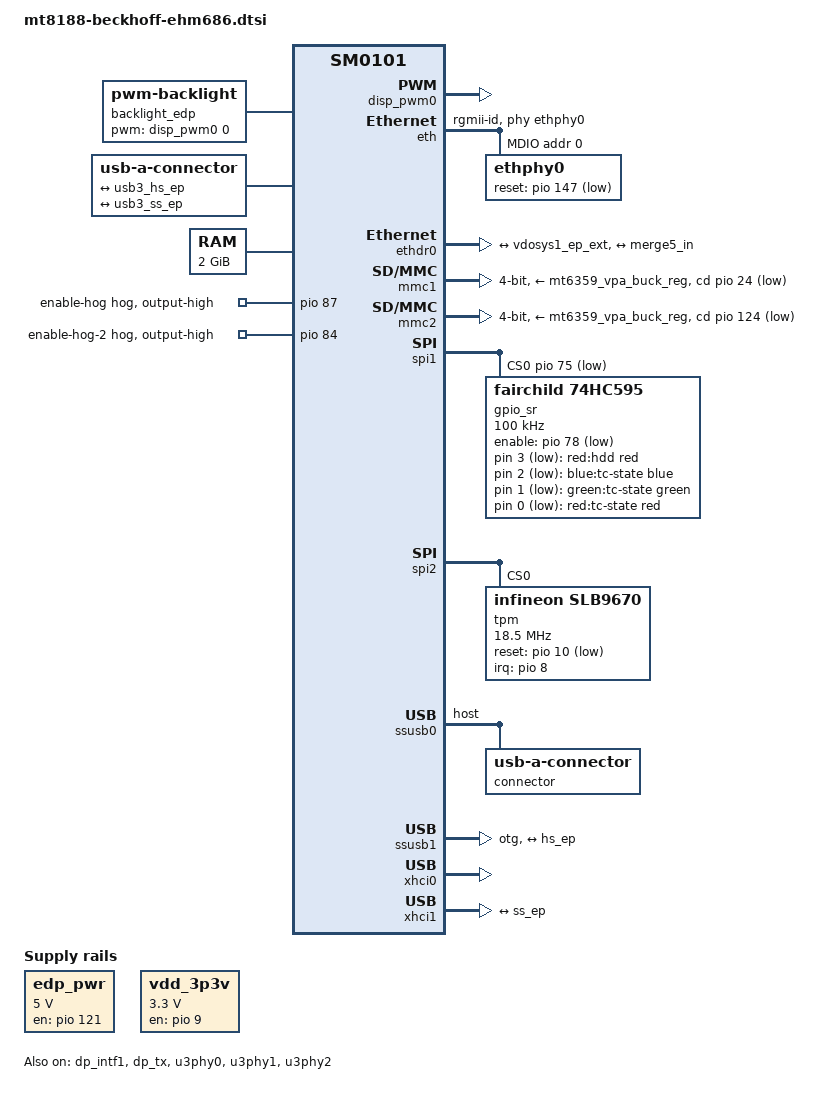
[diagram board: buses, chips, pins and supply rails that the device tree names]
// SPDX-License-Identifier: GPL-2.0 OR MIT
/*
 * Copyright (C) 2025 Beckhoff Automation GmbH & Co. KG
 */

#include "mt8188-beckhoff-sm0101.dtsi"

/*
 * SOM Interfaces used:
 *
 *		- UART 0 -> Debug
 *		- SPI1 -> SN74AVC4T774 (LED gpio)
 *		- GPIO_TPM -> TPM
 *		- SPI2 -> TPM (SLB9672)
 *		- DP0 -> Display out
 *		- EDP -> EDP Port out DISP_EN(GPIO 121)/HPD(GPIO 17 Aux func 4)/
 *		  PWM(DISP_PWM0 AA9)
 *		- EMMC -> EMMC (MSDC 0)
 *		- SDIO 1 -> SD Card 1 (MSDC 1) / CD# (GPIO 024)
 *		- SDIO 2 -> SD Card 2 (MSDC 2) / CD# (GPIO 124)
 *		- GPIO 0 -> PC status (GPIO 00)
 *		- GPIO_1 -> PC on (GPIO 01)
 *		- GPIO_EXTPWR -> 3V3 enable	(GPIO 09)
 *		- GPIO_PWRLED -> PWR LED (R/G/B) / GPIO(012/013/014)
 *		- USBP0 -> USB 3 Port
 *		- USBP1 -> USB 2 Port
 *		- PCIE0 -> Realtek Phy
 *		- GBE0 -> B50212E
 *
 */

/ {
	backlight_edp: backlight-edp {
		compatible = "pwm-backlight";
		brightness-levels = <0 1023>;
		default-brightness-level = <576>;
		num-interpolated-steps = <1023>;
		pwms = <&disp_pwm0 0 500000>;
	};

	edp_pwr: edp-pwr {
		compatible = "regulator-fixed";
		enable-active-high;
		gpio = <&pio 121 GPIO_ACTIVE_HIGH>;
		regulator-max-microvolt = <5000000>;
		regulator-min-microvolt = <5000000>;
		regulator-name = "edp-pwr";
	};

	leds {
		compatible = "gpio-leds";

		status = "okay";

		led-hdd-red {
			color = <LED_COLOR_ID_RED>;
			default-state = "off";
			function = LED_FUNCTION_POWER;
			gpios = <&gpio_sr 3 GPIO_ACTIVE_LOW>;
			label = "red:hdd";
			linux,default-trigger = "mmc1";
		};

		led-tc-state-blue {
			color = <LED_COLOR_ID_BLUE>;
			default-state = "off";
			function = LED_FUNCTION_HEARTBEAT;
			gpios = <&gpio_sr 2 GPIO_ACTIVE_LOW>;
			label = "blue:tc-state";
			linux,default-trigger = "none";
		};

		led-tc-state-green {
			color = <LED_COLOR_ID_GREEN>;
			default-state = "off";
			function = LED_FUNCTION_POWER;
			gpios = <&gpio_sr 1 GPIO_ACTIVE_LOW>;
			label = "green:tc-state";
			linux,default-trigger = "none";
		};

		led-tc-state-red {
			color = <LED_COLOR_ID_RED>;
			default-state = "off";
			function = LED_FUNCTION_PANIC;
			gpios = <&gpio_sr 0 GPIO_ACTIVE_LOW>;
			label = "red:tc-state";
			linux,default-trigger = "none";
		};
	};

	usb3_con: usb3-con {
		compatible = "usb-a-connector";
		label = "USB-A";

		ports {
			#address-cells = <1>;
			#size-cells = <0>;

			port@0 {
				reg = <0>;

				hs_ep: endpoint {
					remote-endpoint = <&usb3_hs_ep>;
				};
			};

			port@1 {
				reg = <1>;

				ss_ep: endpoint {
					remote-endpoint = <&usb3_ss_ep>;
				};
			};
		};
	};

	vdd_3p3v: vdd-3p3v {
		compatible = "regulator-fixed";
		enable-active-high;
		gpio = <&pio 9 GPIO_ACTIVE_HIGH>;
		regulator-always-on;
		regulator-boot-on;
		regulator-max-microvolt = <3300000>;
		regulator-min-microvolt = <3300000>;
		regulator-name = "vdd-3.3V";
	};

	memory@40000000 {
		reg = <0 0x40000000 0x0 0x80000000>;
		device_type = "memory";
	};
};

&disp_pwm0 {
	pinctrl-0 = <&disp_pwm0_pins>;
	pinctrl-names = "default";

	status = "okay";
};

&dither0_out {
	remote-endpoint = <&dsc0_in>;
};

&dp_intf0 {
	ports {
		#address-cells = <1>;
		#size-cells = <0>;

		port@0 {
			reg = <0>;

			dp_intf0_in: endpoint {
				remote-endpoint = <&merge0_out>;
			};
		};

		port@1 {
			reg = <1>;

			dp_intf0_out: endpoint {
			};
		};
	};
};

&dp_intf1 {
	status = "okay";

	ports {
		#address-cells = <1>;
		#size-cells = <0>;

		port@0 {
			reg = <0>;
			#address-cells = <1>;
			#size-cells = <0>;

			dp_intf1_in: endpoint@1 {
				reg = <1>;
				remote-endpoint = <&merge5_out>;
			};
		};

		port@1 {
			reg = <1>;
			#address-cells = <1>;
			#size-cells = <0>;

			dp_intf1_out: endpoint@1 {
				reg = <1>;
				remote-endpoint = <&dptx_in>;
			};
		};
	};
};

&dp_tx {
	pinctrl-0 = <&dp_tx_hpd>;
	pinctrl-names = "default";
	#sound-dai-cells = <0>;

	status = "okay";

	ports {
		#address-cells = <1>;
		#size-cells = <0>;

		port@0 {
			reg = <0>;

			dptx_in: endpoint {
				remote-endpoint = <&dp_intf1_out>;
			};
		};

		port@1 {
			reg = <1>;

			dptx_out: endpoint {
				data-lanes = <0 1 2 3>;
			};
		};
	};
};

&dsc0 {
	ports {
		#address-cells = <1>;
		#size-cells = <0>;

		port@0 {
			reg = <0>;

			dsc0_in: endpoint {
				remote-endpoint = <&dither0_out>;
			};
		};

		port@1 {
			reg = <1>;

			dsc0_out: endpoint {
				remote-endpoint = <&merge0_in>;
			};
		};
	};
};

&edp_tx {
	pinctrl-0 = <&edptx_pins_default>;
	pinctrl-names = "default";

	aux-bus {
		panel {
			compatible = "edp-panel";
			backlight = <&disp_pwm0>;
			power-supply = <&edp_pwr>;

			port {
				panel_in: endpoint {
					remote-endpoint = <&edp_out>;
				};
			};
		};
	};

	ports {
		#address-cells = <1>;
		#size-cells = <0>;

		port@0 {
			reg = <0>;

			edp_in: endpoint {
				/*
				 * Nothing is connected to the eDP port by default;
				 * dp_intf1 drives dp_tx. To use the eDP path, set
				 * remote-endpoint = <&dp_intf0_out> here and
				 * remote-endpoint = <&edp_in> in dp_intf0_out, and
				 * enable dp_intf0, dsc0, merge0 and edp_tx.
				 */
			};
		};

		port@1 {
			reg = <1>;

			edp_out: endpoint {
				data-lanes = <0 1 2 3>;
				remote-endpoint = <&panel_in>;
			};
		};
	};
};

&eth {
	nvmem-cells = <&eth0_addr>;
	nvmem-cell-names = "mac-address";
	phy-handle = <&ethphy0>;
	phy-mode = "rgmii-id";
	pinctrl-0 = <&ethdefault>;
	pinctrl-1 = <&ethsleep>;
	pinctrl-names = "default", "sleep";
	mediatek,mac-wol;

	status = "okay";

	mdio {
		compatible = "snps,dwmac-mdio";
		#address-cells = <1>;
		#size-cells = <0>;

		ethphy0: ethphy0@0 {
			reg = <0x0>;
			eee-broken-100tx;
			eee-broken-1000t;
			reset-assert-us = <10000>;
			reset-deassert-us = <10000>;
			reset-gpios = <&pio 147 GPIO_ACTIVE_LOW>;
		};
	};
};

&ethdr0 {
	ports {
		#address-cells = <1>;
		#size-cells = <0>;

		port@0 {
			reg = <0>;
			#address-cells = <1>;
			#size-cells = <0>;

			ethdr0_in: endpoint@1 {
				reg = <1>;
				remote-endpoint = <&vdosys1_ep_ext>;
			};
		};

		port@1 {
			reg = <1>;
			#address-cells = <1>;
			#size-cells = <0>;

			ethdr0_out: endpoint@1 {
				reg = <1>;
				remote-endpoint = <&merge5_in>;
			};
		};
	};
};

&merge0 {
	ports {
		#address-cells = <1>;
		#size-cells = <0>;

		port@0 {
			reg = <0>;

			merge0_in: endpoint {
				remote-endpoint = <&dsc0_out>;
			};
		};

		port@1 {
			reg = <1>;

			merge0_out: endpoint {
				remote-endpoint = <&dp_intf0_in>;
			};
		};
	};
};

&merge5 {
	ports {
		#address-cells = <1>;
		#size-cells = <0>;

		port@0 {
			reg = <0>;
			#address-cells = <1>;
			#size-cells = <0>;

			merge5_in: endpoint@1 {
				reg = <1>;
				remote-endpoint = <&ethdr0_out>;
			};
		};

		port@1 {
			reg = <1>;
			#address-cells = <1>;
			#size-cells = <0>;

			merge5_out: endpoint@1 {
				reg = <1>;
				remote-endpoint = <&dp_intf1_in>;
			};
		};
	};
};

&mmc1 {
	bus-width = <4>;
	cap-sd-highspeed;
	cd-gpios = <&pio 24 GPIO_ACTIVE_LOW>;
	max-frequency = <200000000>;
	no-mmc;
	no-sdio;
	pinctrl-0 = <&mmc1_pins_default>;
	pinctrl-1 = <&mmc1_pins_uhs>;
	pinctrl-names = "default", "state_uhs";
	sd-uhs-sdr50;
	sd-uhs-sdr104;
	vmmc-supply = <&mt6359_vpa_buck_reg>;
	vqmmc-supply = <&mt6359_vsim1_ldo_reg>;

	status = "okay";
};

&mmc2 {
	bus-width = <4>;
	cap-sd-highspeed;
	cd-gpios = <&pio 124 GPIO_ACTIVE_LOW>;
	max-frequency = <200000000>;
	no-mmc;
	no-sdio;
	pinctrl-0 = <&mmc2_pins_default>;
	pinctrl-1 = <&mmc2_pins_uhs>;
	pinctrl-names = "default", "state_uhs";
	sd-uhs-sdr50;
	sd-uhs-sdr104;
	vmmc-supply = <&mt6359_vpa_buck_reg>;
	vqmmc-supply = <&mt6359_vsim2_ldo_reg>;

	status = "okay";
};

&pio {
	status = "okay";

	disp_pwm0_pins: disp-pwm0-pins {
		pins-pwm {
			pinmux = <PINMUX_GPIO29__FUNC_O_DISP_PWM0>;
		};
	};

	dp_tx_hpd: dp-tx-hpd-pins {
		pins-dp-tx-hpd {
			pinmux = <PINMUX_GPIO46__FUNC_I0_DP_TX_HPD>;
		};
	};

	edptx_pins_default: edptx-default-pins {
		pins-cmd-dat {
			bias-pull-up;
			pinmux = <PINMUX_GPIO17__FUNC_I0_EDP_TX_HPD>;
		};
	};

	/* USBP1_EN */
	enable-hog {
		gpio-hog;
		gpios = <87 GPIO_ACTIVE_HIGH>;
		output-high;
	};

	/* USBP0_EN */
	enable-hog-2 {
		gpio-hog;
		gpios = <84 GPIO_ACTIVE_HIGH>;
		output-high;
	};

	ethdefault: eth-default-pins {
		pins-cc {
			drive-strength = <MTK_DRIVE_8mA>;
			pinmux = <PINMUX_GPIO139__FUNC_B0_GBE_TXC>,
				 <PINMUX_GPIO140__FUNC_I0_GBE_RXC>,
				 <PINMUX_GPIO141__FUNC_I0_GBE_RXDV>,
				 <PINMUX_GPIO142__FUNC_O_GBE_TXEN>;
		};

		pins-mdio {
			drive-strength = <MTK_DRIVE_8mA>;
			input-enable;
			pinmux = <PINMUX_GPIO143__FUNC_O_GBE_MDC>,
				 <PINMUX_GPIO144__FUNC_B1_GBE_MDIO>;
		};

		pins-rxd {
			drive-strength = <MTK_DRIVE_8mA>;
			pinmux = <PINMUX_GPIO135__FUNC_I0_GBE_RXD3>,
				 <PINMUX_GPIO136__FUNC_I0_GBE_RXD2>,
				 <PINMUX_GPIO137__FUNC_I0_GBE_RXD1>,
				 <PINMUX_GPIO138__FUNC_I0_GBE_RXD0>;
		};

		pins-txd {
			drive-strength = <MTK_DRIVE_8mA>;
			pinmux = <PINMUX_GPIO131__FUNC_O_GBE_TXD3>,
				 <PINMUX_GPIO132__FUNC_O_GBE_TXD2>,
				 <PINMUX_GPIO133__FUNC_O_GBE_TXD1>,
				 <PINMUX_GPIO134__FUNC_O_GBE_TXD0>,
				 <PINMUX_GPIO147__FUNC_B_GPIO147>;
		};
	};

	ethsleep: eth-sleep-pins {
		pins-cc {
			pinmux = <PINMUX_GPIO139__FUNC_B_GPIO139>,
				 <PINMUX_GPIO140__FUNC_B_GPIO140>,
				 <PINMUX_GPIO141__FUNC_B_GPIO141>,
				 <PINMUX_GPIO142__FUNC_B_GPIO142>;
		};

		pins-mdio {
			bias-disable;
			input-disable;
			pinmux = <PINMUX_GPIO143__FUNC_B_GPIO143>,
				 <PINMUX_GPIO144__FUNC_B_GPIO144>;
		};

		pins-rxd {
			pinmux = <PINMUX_GPIO135__FUNC_B_GPIO135>,
				 <PINMUX_GPIO136__FUNC_B_GPIO136>,
				 <PINMUX_GPIO137__FUNC_B_GPIO137>,
				 <PINMUX_GPIO138__FUNC_B_GPIO138>;
		};

		pins-txd {
			pinmux = <PINMUX_GPIO131__FUNC_B_GPIO131>,
				 <PINMUX_GPIO132__FUNC_B_GPIO132>,
				 <PINMUX_GPIO133__FUNC_B_GPIO133>,
				 <PINMUX_GPIO134__FUNC_B_GPIO134>;
		};
	};

	mmc1_pins_default: mmc1-default-pins {
		pins-clk {
			bias-pull-down = <MTK_PUPD_SET_R1R0_10>;
			drive-strength = <MTK_DRIVE_6mA>;
			pinmux = <PINMUX_GPIO164__FUNC_B1_MSDC1_CLK>;
		};

		pins-cmd-dat {
			bias-pull-up = <MTK_PUPD_SET_R1R0_01>;
			drive-strength = <MTK_DRIVE_6mA>;
			input-enable;
			pinmux = <PINMUX_GPIO163__FUNC_B1_MSDC1_CMD>,
				 <PINMUX_GPIO165__FUNC_B1_MSDC1_DAT0>,
				 <PINMUX_GPIO166__FUNC_B1_MSDC1_DAT1>,
				 <PINMUX_GPIO167__FUNC_B1_MSDC1_DAT2>,
				 <PINMUX_GPIO168__FUNC_B1_MSDC1_DAT3>;
		};

		pins-insert {
			bias-pull-up;
			pinmux = <PINMUX_GPIO24__FUNC_B_GPIO24>;
		};
	};

	mmc1_pins_uhs: mmc1-uhs-pins {
		pins-clk {
			bias-pull-down = <MTK_PUPD_SET_R1R0_10>;
			drive-strength = <MTK_DRIVE_8mA>;
			pinmux = <PINMUX_GPIO164__FUNC_B1_MSDC1_CLK>;
		};

		pins-cmd-dat {
			bias-pull-up = <MTK_PUPD_SET_R1R0_01>;
			drive-strength = <MTK_DRIVE_8mA>;
			input-enable;
			pinmux = <PINMUX_GPIO163__FUNC_B1_MSDC1_CMD>,
				 <PINMUX_GPIO165__FUNC_B1_MSDC1_DAT0>,
				 <PINMUX_GPIO166__FUNC_B1_MSDC1_DAT1>,
				 <PINMUX_GPIO167__FUNC_B1_MSDC1_DAT2>,
				 <PINMUX_GPIO168__FUNC_B1_MSDC1_DAT3>;
		};

		pins-insert {
			bias-pull-up;
			pinmux = <PINMUX_GPIO24__FUNC_B_GPIO24>;
		};
	};

	mmc2_pins_default: mmc2-default-pins {
		pins-clk {
			bias-pull-down = <MTK_PUPD_SET_R1R0_10>;
			drive-strength = <MTK_DRIVE_6mA>;
			pinmux = <PINMUX_GPIO170__FUNC_B1_MSDC2_CLK>;
		};

		pins-cmd-dat {
			bias-pull-up = <MTK_PUPD_SET_R1R0_01>;
			drive-strength = <MTK_DRIVE_6mA>;
			input-enable;
			pinmux = <PINMUX_GPIO169__FUNC_B1_MSDC2_CMD>,
				 <PINMUX_GPIO171__FUNC_B1_MSDC2_DAT0>,
				 <PINMUX_GPIO172__FUNC_B1_MSDC2_DAT1>,
				 <PINMUX_GPIO173__FUNC_B1_MSDC2_DAT2>,
				 <PINMUX_GPIO174__FUNC_B1_MSDC2_DAT3>;
		};

		pins-insert {
			bias-pull-up;
			pinmux = <PINMUX_GPIO124__FUNC_B_GPIO124>;
		};
	};

	mmc2_pins_uhs: mmc2-uhs-pins {
		pins-clk {
			bias-pull-down = <MTK_PUPD_SET_R1R0_10>;
			drive-strength = <MTK_DRIVE_8mA>;
			pinmux = <PINMUX_GPIO170__FUNC_B1_MSDC2_CLK>;
		};

		pins-cmd-dat {
			bias-pull-up = <MTK_PUPD_SET_R1R0_01>;
			drive-strength = <MTK_DRIVE_8mA>;
			input-enable;
			pinmux = <PINMUX_GPIO169__FUNC_B1_MSDC2_CMD>,
				 <PINMUX_GPIO171__FUNC_B1_MSDC2_DAT0>,
				 <PINMUX_GPIO172__FUNC_B1_MSDC2_DAT1>,
				 <PINMUX_GPIO173__FUNC_B1_MSDC2_DAT2>,
				 <PINMUX_GPIO174__FUNC_B1_MSDC2_DAT3>;
		};

		pins-insert {
			bias-pull-up;
			pinmux = <PINMUX_GPIO124__FUNC_B_GPIO124>;
		};
	};

	spi1_pins_default: spi1-default-pins {
		pins-bus {
			bias-disable;
			pinmux = <PINMUX_GPIO75__FUNC_B_GPIO75>,
				 <PINMUX_GPIO76__FUNC_O_SPIM1_CLK>,
				 <PINMUX_GPIO77__FUNC_B0_SPIM1_MOSI>,
				 <PINMUX_GPIO78__FUNC_B_GPIO78>;
		};
	};

	spi2_pins_default: spi2-default-pins {
		pins-bus {
			bias-disable;
			pinmux = <PINMUX_GPIO79__FUNC_O_SPIM2_CSB>,
				 <PINMUX_GPIO80__FUNC_O_SPIM2_CLK>,
				 <PINMUX_GPIO81__FUNC_B0_SPIM2_MOSI>,
				 <PINMUX_GPIO82__FUNC_B0_SPIM2_MISO>;
		};

		pins-rst {
			bias-disable;
			pinmux = <PINMUX_GPIO10__FUNC_B_GPIO10>;
		};
	};
};

&spi1 {
	cs-gpios = <&pio 75 GPIO_ACTIVE_LOW>;
	num-cs = <1>;
	pinctrl-0 = <&spi1_pins_default>;
	pinctrl-names = "default";

	status = "okay";

	gpio_sr: gpio@0 {
		compatible = "fairchild,74hc595";
		reg = <0>;
		enable-gpios = <&pio 78 GPIO_ACTIVE_LOW>;
		#gpio-cells = <2>;
		gpio-controller;
		registers-number = <1>;
		spi-max-frequency = <100000>;
	};
};

&spi2 {
	num-cs = <1>;
	pinctrl-0 = <&spi2_pins_default>;
	pinctrl-names = "default";

	status = "okay";

	tpm@0 {
		compatible = "infineon,slb9670", "tcg,tpm_tis-spi";
		reg = <0>;
		interrupt-parent = <&pio>;
		interrupts = <8 IRQ_TYPE_LEVEL_LOW>;
		reset-gpios = <&pio 10 GPIO_ACTIVE_LOW>;
		spi-max-frequency = <18500000>;
	};
};

/* USB Port 0 -> USB 2 */
&ssusb0 {
	dr_mode = "host";
	maximum-speed = "high-speed";
	usb-role-switch;
	vusb33-supply = <&mt6359_vusb_ldo_reg>;
	wakeup-source;

	status = "okay";

	connector {
		compatible = "usb-a-connector";
	};
};

/* USB Port 1 -> USB 3 */
&ssusb1 {
	dr_mode = "otg";
	usb-role-switch;
	vusb33-supply = <&mt6359_vusb_ldo_reg>;
	wakeup-source;

	status = "okay";

	port {
		usb3_hs_ep: endpoint {
			remote-endpoint = <&hs_ep>;
		};
	};
};

&u3phy0 {
	status = "okay";
};

&u3phy1 {
	status = "okay";
};

&u3phy2 {
	status = "okay";
};

&vdosys1 {
	port {
		#address-cells = <1>;
		#size-cells = <0>;

		vdosys1_ep_ext: endpoint@1 {
			reg = <1>;
			remote-endpoint = <&ethdr0_in>;
		};
	};
};

&xhci0 {
	status = "okay";
};

&xhci1 {
	vusb33-supply = <&mt6359_vusb_ldo_reg>;

	status = "okay";

	port {
		usb3_ss_ep: endpoint {
			remote-endpoint = <&ss_ep>;
		};
	};
};
